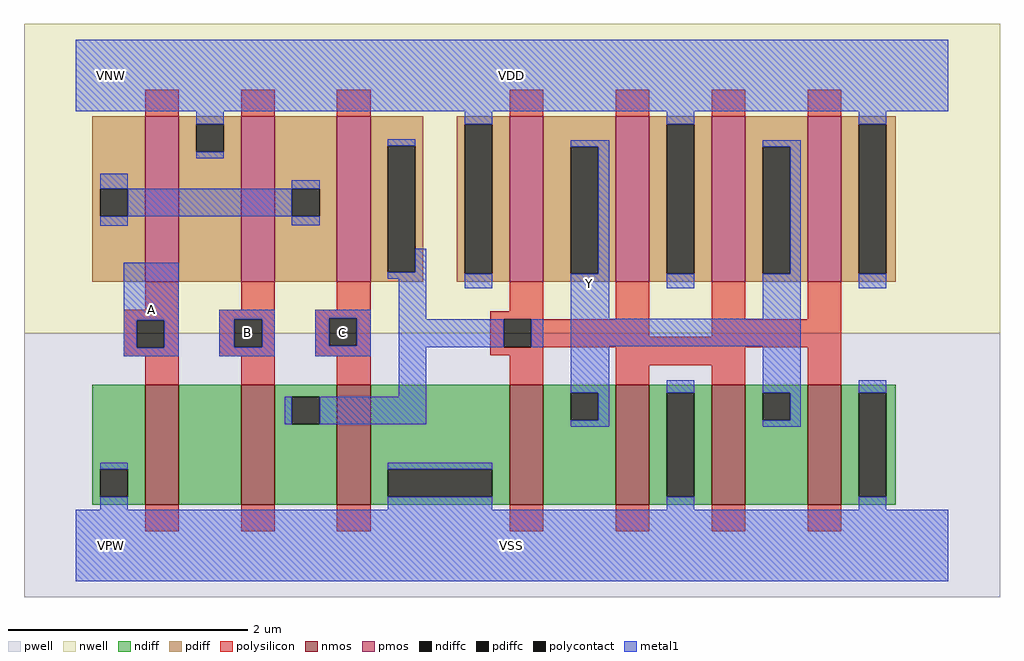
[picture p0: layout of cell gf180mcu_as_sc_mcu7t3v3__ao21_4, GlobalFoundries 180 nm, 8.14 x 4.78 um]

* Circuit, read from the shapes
.subckt gf180mcu_as_sc_mcu7t3v3__ao21_4 VDD VNW VPW VSS Y A B C
XM1 n1 A VSS VPW nfet_03v3 w=1u l=0.28u
XM2 n2 B n1 VPW nfet_03v3 w=1u l=0.28u
XM3 VSS C n2 VPW nfet_03v3 w=1u l=0.28u
XM4 Y n2 VSS VPW nfet_03v3 w=1u l=0.28u m=4
XM5 VDD A n3 VNW pfet_03v3 w=1.38u l=0.28u
XM6 n3 B VDD VNW pfet_03v3 w=1.38u l=0.28u
XM7 n2 C n3 VNW pfet_03v3 w=1.38u l=0.28u
XM8 Y n2 VDD VNW pfet_03v3 w=1.38u l=0.28u m=4
.ends

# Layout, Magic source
magic
tech gf180mcuD
magscale 1 10
<< nwell >>
rect -86 354 1542 870
<< pwell >>
rect -86 -86 1542 354
<< nmos >>
rect 116 68 172 268
rect 276 68 332 268
rect 436 68 492 268
rect 724 68 780 268
rect 901 68 957 268
rect 1061 68 1117 268
rect 1221 68 1277 268
<< pmos >>
rect 116 440 172 716
rect 276 440 332 716
rect 436 440 492 716
rect 724 440 780 716
rect 901 440 957 716
rect 1061 440 1117 716
rect 1221 440 1277 716
<< ndiff >>
rect 28 127 116 268
rect 28 81 41 127
rect 87 81 116 127
rect 28 68 116 81
rect 172 68 276 268
rect 332 248 436 268
rect 332 202 361 248
rect 407 202 436 248
rect 332 68 436 202
rect 492 127 724 268
rect 492 81 521 127
rect 695 81 724 127
rect 492 68 724 81
rect 780 255 901 268
rect 780 209 826 255
rect 872 209 901 255
rect 780 68 901 209
rect 957 255 1061 268
rect 957 81 986 255
rect 1032 81 1061 255
rect 957 68 1061 81
rect 1117 255 1221 268
rect 1117 209 1146 255
rect 1192 209 1221 255
rect 1117 68 1221 209
rect 1277 255 1368 268
rect 1277 81 1306 255
rect 1352 81 1368 255
rect 1277 68 1368 81
<< pdiff >>
rect 28 595 116 716
rect 28 549 41 595
rect 87 549 116 595
rect 28 440 116 549
rect 172 703 276 716
rect 172 657 201 703
rect 247 657 276 703
rect 172 440 276 657
rect 332 595 436 716
rect 332 549 361 595
rect 407 549 436 595
rect 332 440 436 549
rect 492 667 580 716
rect 492 456 521 667
rect 567 456 580 667
rect 492 440 580 456
rect 636 703 724 716
rect 636 453 649 703
rect 695 453 724 703
rect 636 440 724 453
rect 780 665 901 716
rect 780 453 826 665
rect 872 453 901 665
rect 780 440 901 453
rect 957 703 1061 716
rect 957 453 986 703
rect 1032 453 1061 703
rect 957 440 1061 453
rect 1117 665 1221 716
rect 1117 453 1146 665
rect 1192 453 1221 665
rect 1117 440 1221 453
rect 1277 703 1368 716
rect 1277 453 1306 703
rect 1352 453 1368 703
rect 1277 440 1368 453
<< ndiffc >>
rect 41 81 87 127
rect 361 202 407 248
rect 521 81 695 127
rect 826 209 872 255
rect 986 81 1032 255
rect 1146 209 1192 255
rect 1306 81 1352 255
<< pdiffc >>
rect 41 549 87 595
rect 201 657 247 703
rect 361 549 407 595
rect 521 456 567 667
rect 649 453 695 703
rect 826 453 872 665
rect 986 453 1032 703
rect 1146 453 1192 665
rect 1306 453 1352 703
<< polysilicon >>
rect 116 716 172 760
rect 276 716 332 760
rect 436 716 492 760
rect 724 716 780 760
rect 901 716 957 760
rect 1061 716 1117 760
rect 1221 716 1277 760
rect 116 393 172 440
rect 276 393 332 440
rect 436 393 492 440
rect 80 376 172 393
rect 80 330 102 376
rect 148 330 172 376
rect 80 316 172 330
rect 240 377 332 393
rect 240 331 265 377
rect 311 331 332 377
rect 240 316 332 331
rect 400 379 492 393
rect 724 391 780 440
rect 400 333 423 379
rect 469 333 492 379
rect 400 316 492 333
rect 692 377 780 391
rect 901 377 957 440
rect 692 331 714 377
rect 760 348 957 377
rect 1061 377 1117 440
rect 1221 377 1277 440
rect 1061 348 1277 377
rect 760 331 1277 348
rect 692 317 780 331
rect 116 268 172 316
rect 276 268 332 316
rect 436 268 492 316
rect 724 268 780 317
rect 901 301 1117 331
rect 901 268 957 301
rect 1061 268 1117 301
rect 1221 268 1277 331
rect 116 24 172 68
rect 276 24 332 68
rect 436 24 492 68
rect 724 24 780 68
rect 901 24 957 68
rect 1061 24 1117 68
rect 1221 24 1277 68
<< polycontact >>
rect 102 330 148 376
rect 265 331 311 377
rect 423 333 469 379
rect 714 331 760 377
<< metal1 >>
rect 0 724 1456 844
rect 201 703 247 724
rect 649 703 695 724
rect 201 646 247 657
rect 521 667 567 678
rect 41 595 87 620
rect 361 595 407 609
rect 87 549 361 595
rect 41 533 87 549
rect 361 534 407 549
rect 80 376 172 472
rect 567 456 585 495
rect 521 445 585 456
rect 80 330 102 376
rect 148 330 172 376
rect 80 316 172 330
rect 240 377 332 393
rect 240 331 265 377
rect 311 331 332 377
rect 240 316 332 331
rect 400 379 492 393
rect 400 333 423 379
rect 469 333 492 379
rect 400 316 492 333
rect 539 377 585 445
rect 986 703 1032 724
rect 649 429 695 453
rect 826 665 890 676
rect 872 453 890 665
rect 826 378 890 453
rect 1306 703 1352 724
rect 986 429 1032 453
rect 1146 665 1210 676
rect 1192 453 1210 665
rect 1146 378 1210 453
rect 1306 429 1352 453
rect 539 331 714 377
rect 760 331 780 377
rect 826 332 1210 378
rect 539 248 585 331
rect 349 202 361 248
rect 407 202 585 248
rect 826 255 890 332
rect 872 209 890 255
rect 826 198 890 209
rect 986 255 1032 276
rect 41 127 87 138
rect 41 60 87 81
rect 521 127 695 138
rect 521 60 695 81
rect 1146 255 1210 332
rect 1192 209 1210 255
rect 1146 198 1210 209
rect 1306 255 1352 276
rect 986 60 1032 81
rect 1306 60 1352 81
rect 0 -60 1456 60
<< labels >>
flabel metal1 s 0 724 1456 844 0 FreeSans 400 0 0 0 VDD
port 1 nsew power bidirectional abutment
flabel metal1 s 0 -60 1456 60 0 FreeSans 400 0 0 0 VSS
port 4 nsew ground bidirectional abutment
flabel nwell s 10 734 110 834 0 FreeSans 400 0 0 0 VNW
port 2 nsew power bidirectional
flabel pwell s 10 -50 110 50 0 FreeSans 400 0 0 0 VPW
port 3 nsew ground bidirectional
flabel metal1 826 198 890 676 0 FreeSans 200 0 0 0 Y
port 5 nsew signal output
flabel metal1 80 316 172 472 0 FreeSans 200 0 0 0 A
port 6 nsew signal input
flabel metal1 240 316 332 393 0 FreeSans 200 0 0 0 B
port 7 nsew signal input
flabel metal1 400 316 492 393 0 FreeSans 200 0 0 0 C
port 8 nsew signal input
<< properties >>
string FIXED_BBOX 0 0 1456 784
string LEFclass CORE
string LEFsite unithd
string LEFsymmetry X Y
string MASKHINTS_NPLUS -16 -46 1472 354
string MASKHINTS_PPLUS -16 354 1472 830
<< end >>
